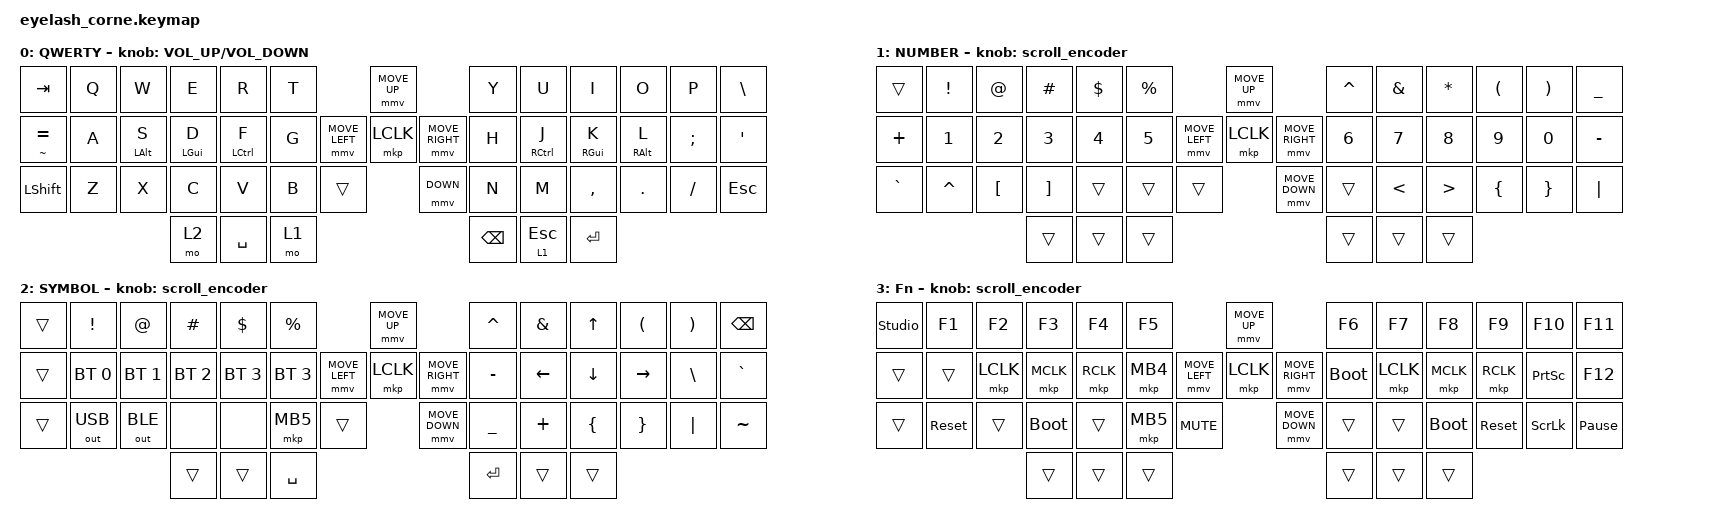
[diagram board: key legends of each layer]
#define ZMK_POINTING_DEFAULT_MOVE_VAL 1200  // 600
#define ZMK_POINTING_DEFAULT_SCRL_VAL 25   // 10

#include <input/processors.dtsi>
#include <zephyr/dt-bindings/input/input-event-codes.h>
#include <behaviors.dtsi>
#include <dt-bindings/zmk/bt.h>
#include <dt-bindings/zmk/keys.h>
#include <dt-bindings/zmk/outputs.h>
#include <dt-bindings/zmk/pointing.h>
#include <dt-bindings/zmk/rgb.h>

&mmv_input_listener { input-processors = <&zip_xy_scaler 2 1>; };

&msc_input_listener { input-processors = <&zip_scroll_scaler 2 1>; };

&msc {
    acceleration-exponent = <1>;      // 0
    time-to-max-speed-ms = <100>;       // 300
    delay-ms = <0>;                   // 0
};

&mmv {
    time-to-max-speed-ms = <500>;
    acceleration-exponent = <1>;
    trigger-period-ms = <16>;
};

&soft_off { hold-time-ms = <2000>; };

/ {
    behaviors {
        td0: td0 {
            compatible = "zmk,behavior-tap-dance";
            display-name = "Shift/Caps Lock Tap Dance";
            #binding-cells = <0>;
            bindings = <&kp LEFT_SHIFT>, <&kp CAPS>;
        };

        hml: home_row_mod_left {
            compatible = "zmk,behavior-hold-tap";
            #binding-cells = <2>;
            flavor = "balanced";
            tapping-term-ms = <280>;
            bindings = <&kp>, <&kp>;
            // Triggers are all keys on the RIGHT hand
            hold-trigger-key-positions = <7 8 9 10 11 12 22 23 24 25 26 27 36 37 38 39 40 41 45 46 47>;
            hold-trigger-on-release;
        };
        
        hmr: home_row_mod_right {
            compatible = "zmk,behavior-hold-tap";
            #binding-cells = <2>;
            flavor = "balanced";
            tapping-term-ms = <280>;
            bindings = <&kp>, <&kp>;
            // Triggers are all keys on the LEFT hand
            hold-trigger-key-positions = <0 1 2 3 4 5 13 14 15 16 17 18 28 29 30 31 32 33 42 43 44>;
            hold-trigger-on-release;
        };
    };

    rgb_encoder: rgb_encoder {
        compatible = "zmk,behavior-sensor-rotate";
        #sensor-binding-cells = <0>;
        bindings = <&rgb_ug RGB_BRI>, <&rgb_ug RGB_BRD>;
    };

    scroll_encoder: scroll_encoder {
        compatible = "zmk,behavior-sensor-rotate";
        #sensor-binding-cells = <0>;
        bindings = <&msc SCRL_DOWN>, <&msc SCRL_UP>;

        tap-ms = <100>;
    };

    combos {
        compatible = "zmk,combos";

        softoff {
            bindings = <&soft_off>;
            key-positions = <1 15 29>;
        };
    };

    keymap {
        compatible = "zmk,keymap";

        default_layer {
            display-name = "QWERTY";
            bindings = <
&kp TAB         &kp Q   &kp W        &kp E       &kp R       &kp T                        &mmv MOVE_UP                  &kp Y        &kp U        &kp I       &kp O      &kp P     &kp BSLH
&mt TILDE EQUAL &kp A   &hml LALT S  &hml LGUI D &hml LCTRL F &kp G         &mmv MOVE_LEFT  &mkp LCLK  &mmv MOVE_RIGHT  &kp H        &hmr RCTRL J &hmr RGUI K &hmr RALT L &kp SEMI  &kp SQT
&kp LSHIFT      &kp Z   &kp X        &kp C       &kp V       &kp B  &trans                 &mmv DOWN                    &kp N        &kp M        &kp COMMA   &kp DOT    &kp FSLH  &kp ESC
                                           &mo 2       &kp SPACE   &mo 1                                                      &kp BSPC     &lt 1 ESC    &kp ENTER
            >;

            sensor-bindings = <&inc_dec_kp C_VOLUME_UP C_VOLUME_DOWN>;
        };

        lower_layer {
            display-name = "NUMBER";
            bindings = <
&trans    &kp EXCL  &kp AT   &kp HASH  &kp DLLR &kp PRCNT                           &mmv MOVE_UP                     &kp CARET        &kp AMPS  &kp STAR  &kp LPAR  &kp RPAR  &kp UNDER
&kp PLUS  &kp 1     &kp 2    &kp 3     &kp 4    &kp 5               &mmv MOVE_LEFT  &mkp LCLK      &mmv MOVE_RIGHT   &kp 6            &kp 7     &kp 8     &kp 9     &kp 0     &kp MINUS
&kp GRAVE &kp CARET &kp LBKT &kp RBKT  &trans   &trans     &trans                   &mmv MOVE_DOWN                   &trans           &kp LT    &kp GT    &kp LBRC  &kp RBRC  &kp PIPE
                             &trans    &trans   &trans                                                               &trans           &trans    &trans
            >;

            sensor-bindings = <&scroll_encoder>;
        };

        raise_layer {
            display-name = "SYMBOL";
            bindings = <
&trans  &kp EXCL      &kp AT        &kp HASH      &kp DLLR     &kp PRCNT                               &mmv MOVE_UP               &kp CARET  &kp AMPS   &kp UP     &kp LPAR  &kp RPAR  &kp BSPC
&trans  &bt BT_SEL 0  &bt BT_SEL 1  &bt BT_SEL 2  &bt BT_SEL 3 &bt BT_SEL 3      &mmv MOVE_LEFT  &mkp LCLK       &mmv MOVE_RIGHT  &kp MINUS  &kp LEFT   &kp DOWN   &kp RIGHT  &kp BSLH  &kp GRAVE
&trans  &out OUT_USB  &out OUT_BLE  &none         &none        &mkp MB5   &trans                    &mmv MOVE_DOWN                &kp UNDER  &kp PLUS   &kp LBRC   &kp RBRC  &kp PIPE  &kp TILDE
                                    &trans        &trans       &kp SPACE                                                          &kp RET    &trans     &trans
            >;

            sensor-bindings = <&scroll_encoder>;
        };

        layer_3 {
            display-name = "Fn";
            bindings = <
&studio_unlock  &kp F1      &kp F2     &kp F3       &kp F4     &kp F5                                  &mmv MOVE_UP                     &kp F6       &kp F7     &kp F8       &kp F9      &kp F10          &kp F11
&trans          &trans      &mkp LCLK  &mkp MCLK    &mkp RCLK  &mkp MB4                &mmv MOVE_LEFT  &mkp LCLK       &mmv MOVE_RIGHT  &bootloader  &mkp LCLK  &mkp MCLK    &mkp RCLK   &kp PRINTSCREEN  &kp F12
&trans          &sys_reset  &trans     &bootloader  &trans     &mkp MB5  &kp C_MUTE                    &mmv MOVE_DOWN                   &trans       &trans     &bootloader  &sys_reset  &kp SCROLLLOCK   &kp PAUSE_BREAK
                                       &trans       &trans     &trans                                                                   &trans       &trans     &trans
            >;

            sensor-bindings = <&scroll_encoder>;
        };
    };
};

